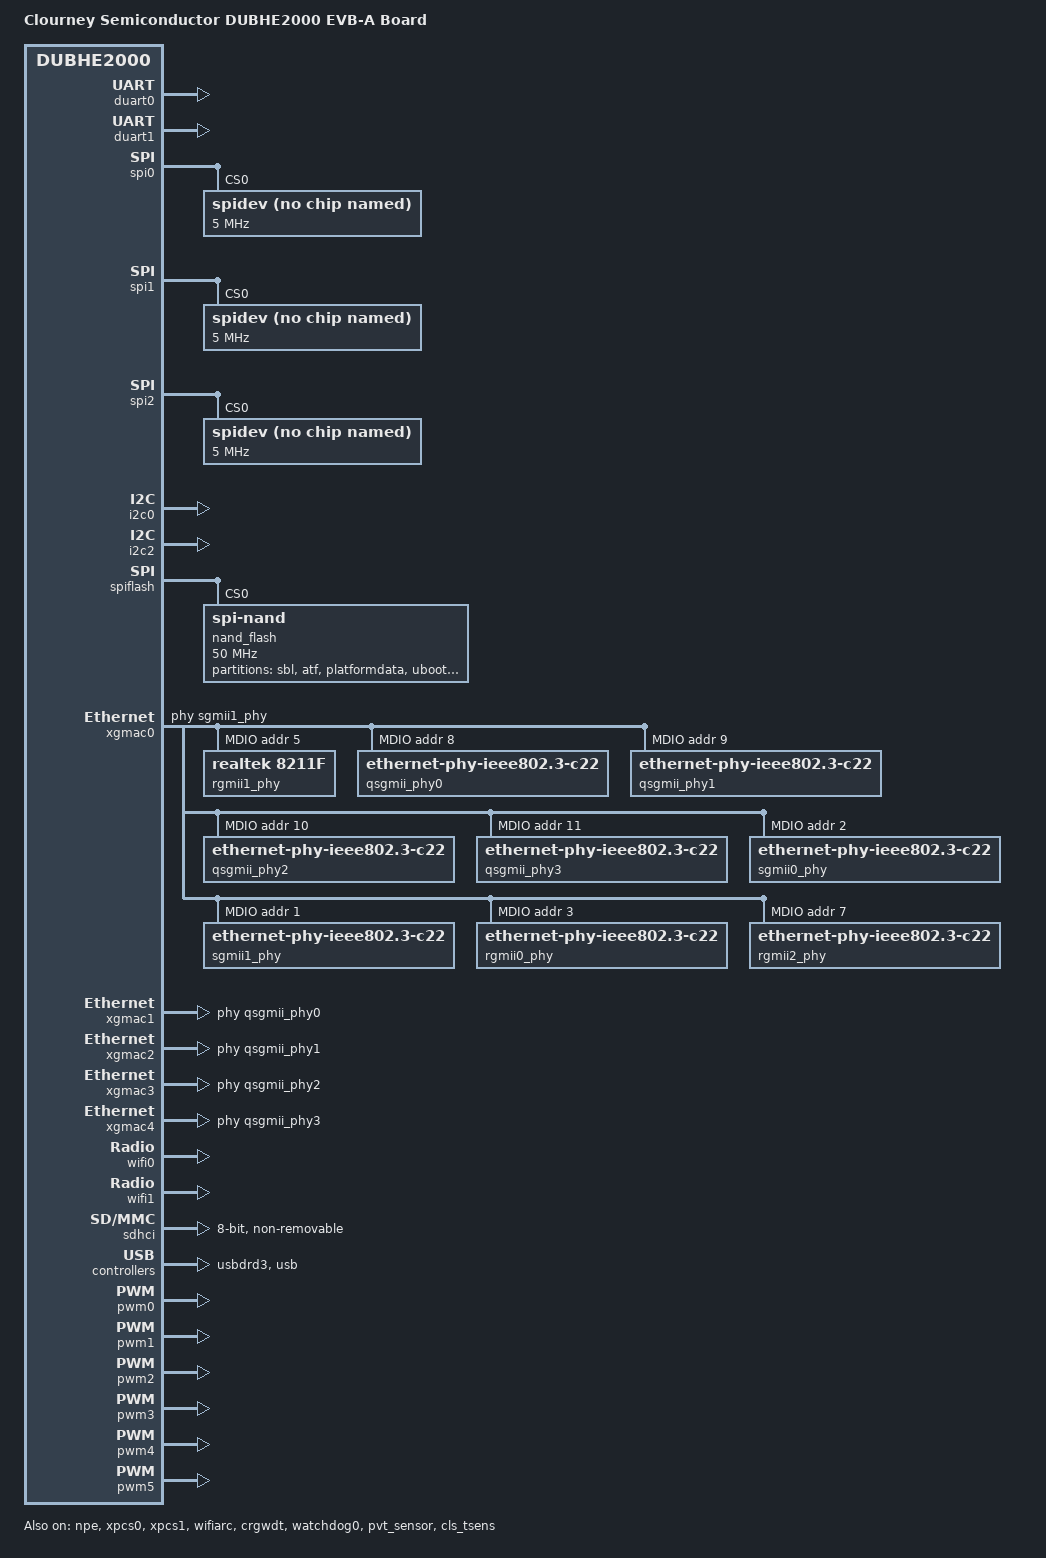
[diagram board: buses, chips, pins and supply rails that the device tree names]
// SPDX-License-Identifier: (GPL-2.0+ OR MIT)
/*
 * Device Tree Include file for Clourney dubhe2000 family SoC.
 *
 * Copyright (C) 2022-2024 Clourney Semiconductor - All Rights Reserved.
 *
 */

/dts-v1/;
#include "clourney-dubhe2000.dtsi"

/ {
	model = "Clourney Semiconductor DUBHE2000 EVB-A Board";
	compatible = "clsemi,dubhe2000-evb-a", "clsemi,dubhe2000";

	aliases {
		serial0 = &duart0;
		spidev0 = &spi0;
                spidev1 = &spi1;
		spidev2 = &spi2;
		spinand = &spiflash;
		pwm0 = &pwm0;
		pwm1 = &pwm1;
		pwm2 = &pwm2;
		pwm3 = &pwm3;
		pwm4 = &pwm4;
		pwm5 = &pwm5;

	};

	chosen {
		stdout-path = "serial0:115200n8";
	};

	macros {
	    #define MMC_CARD_USED   1
	 };
};

&duart0 {
	status = "ok";
};

&duart1 {
        status = "ok";
};

&spi0 {
	status = "ok";
	spidev@0 {
		spi-max-frequency = <5000000>;
		reg = <0>;
		compatible = "linux,spidev";
	};
};

&spi1 {
	status = "ok";
	spidev@1 {
		spi-max-frequency = <5000000>;
		reg = <0>;
		compatible = "linux,spidev";
	};
};

&spi2 {
	status = "ok";
	spidev@2 {
		spi-max-frequency = <5000000>;
		reg = <0>;
		compatible = "linux,spidev";
	};
};

&i2c0 {
        label = "I2C0";
        status = "okay";
};

&i2c1 {
	label = "I2C1";
	status = "disabled";
	wm8960: wm8960@1a {
		#sound-dai-cells = <0>;
		compatible = "wlf,wm8960";
		clocks = <&osc_24m>;
		clock-names = "mclk";
		reg = <0x1a>;
		wlf,shared-lrclk;
	};
};

&i2c2 {
        label = "I2C2";
        status = "okay";
};

&i2s0 {
	#sound-dai-cells = <0>;
	top_sysclk_frequence = <49152000>;
	status = "disabled";
};

&sound0 {
	status = "disabled";
	simple-audio-card,format = "i2s";
	simple-audio-card,name = "wm8960";
	simple-audio-card,cpu {
		sound-dai = <&i2s0>;
		frame-master;
		bitclock-master;
	};
	simple-audio-card,codec {
		sound-dai = <&wm8960>;
		system-clock-frequency = <12288000>;
	};
};

&spiflash {
	rx-sample-delay-ns = <8>;
	status = "ok";

	nand_flash: flash@0 {
		compatible = "spi-nand";
		spi-max-frequency = <50000000>;
		reg = <0>;
		#address-cells = <1>;
		#size-cells = <1>;

		/*0.5MB*/
		partition@0 {
			label = "sbl";
			reg = <0x0 0x80000>;
		};

		/*0.5MB*/
		partition@1 {
			label = "atf";
			reg = <0x80000 0x80000>;
		};

		/*1MB*/
		partition@2 {
			label = "platformdata";
			reg = <0x100000 0x100000>;
		};

		/*2MB*/
		partition@3 {
			label = "uboot";
			reg = <0x200000 0x200000>;
		};

		/*1MB*/
		partition@4 {
			label = "caldata";
			reg = <0x400000 0x100000>;
		};

		/*1MB*/
		partition@5 {
			label = "caldata2";
			reg = <0x500000 0x100000>;
		};

		/*1.5MB*/
                partition@6 {
                        label = "ubootenv";
                        reg = <0x600000 0x180000>;
                };

		/*1.5MB*/
                partition@7 {
                        label = "boarddata";
                        reg = <0x780000 0x180000>;
                };

		/*32MB*/
                partition@8 {
                        label = "fw1";
                        reg = <0x900000 0x2000000>;
                };

		/*32MB*/
                partition@9 {
                        label = "fw2";
                        reg = <0x2900000 0x2000000>;
                };

		/*55MB*/
                partition@10 {
                        label = "reserved";
                        reg = <0x4900000 0x3700000>;
                };
	};
};

&npe  {
	status = "ok";
	switch-pause = <3>;
};

&xpcs0 {
	phy-mode = "sgmii";
	status = "okay";
};

&xpcs1 {
	phy-mode = "qsgmii";
	status = "okay";
};

&xgmac0 {
	mode = "non-rgmii";
	max-speed = <25000>;
	phy-handle = <&sgmii1_phy>;
	clk_csr = <1>;
	mdio-flags = <1>;
	status = "okay";
	mdio {
	compatible = "clourney,mdio";
	#address-cells = <1>;
	#size-cells = <0>;
	device_type = "mdio";
	status = "okay";
	rgmii1_phy: ethernet-phy@5 {
		 compatible = "realtek,8211f","ethernet-phy-ieee802.3-c22";
		 reg = <0x5>;
	};
	qsgmii_phy0: ethernet-phy@8 {
		 compatible = "ethernet-phy-ieee802.3-c22";
		 port-id = <0>;
		 reg = <0x8>;
	};
	qsgmii_phy1: ethernet-phy@9 {
		compatible = "ethernet-phy-ieee802.3-c22";
		port-id = <1>;
		reg = <0x9>;
	};
	qsgmii_phy2: ethernet-phy@a {
		compatible = "ethernet-phy-ieee802.3-c22";
		port-id = <2>;
		reg = <0xa>;
	};
	qsgmii_phy3: ethernet-phy@b {
		compatible = "ethernet-phy-ieee802.3-c22";
		port-id = <3>;
		reg = <0xb>;
	};
	sgmii0_phy: ethernet-phy@01 {
		compatible = "ethernet-phy-ieee802.3-c22";
		reg = <0x2>;
	};
	sgmii1_phy: ethernet-phy@1 {
		compatible = "ethernet-phy-ieee802.3-c22";
		reg = <0x1>;
	};
	rgmii0_phy: ethernet-phy@3 {
		compatible = "ethernet-phy-ieee802.3-c22";
		reg = <0x3>;
	};
	rgmii2_phy: ethernet-phy@7 {
		compatible = "ethernet-phy-ieee802.3-c22";
		reg = <0x7>;
	};
  };
};

&xgmac1 {
	mode = "non-rgmii";
	phy-handle = <&qsgmii_phy0>;
	status = "okay";
};

&xgmac2 {
	mode = "non-rgmii";
	phy-handle = <&qsgmii_phy1>;
	status = "okay";
};

&xgmac3 {
	mode = "non-rgmii";
	phy-handle = <&qsgmii_phy2>;
	status = "okay";
};

&xgmac4 {
	mode = "non-rgmii";
	phy-handle = <&qsgmii_phy3>;
	status = "okay";
};

&wifi0 { status = "ok"; };

&wifi1 { status = "ok"; };

&wifiarm { status = "disabled"; };

&wifiarc { status = "ok"; };

&sdhci { status = "ok"; };

&crgwdt {
        timeout-sec = <WDT_TIMEOUT_S>;
        status = "ok";
};

&watchdog0 {
	timeout-sec = <WDT_TIMEOUT_S>;
	status = "ok";
};

&gpio0 { status = "ok"; };

&gpio1 { status = "ok"; };

&gpio_keys { status = "ok"; };

&gpio_leds { status = "ok"; };

&usbdrd3 { status = "ok";};

&usb {status = "ok"; };

&sdhci {
	disable-wp;
	keep-power-in-suspend;
	sdhci-caps-mask = <0xff0000 0x0>;
	sdhci-caps = <0x0 0x0>;
	max-frequency = <50000000>;
	clock-frequency = <50000000>;

	#if MMC_CARD_USED
	bus-width = <8>;
	non-removable;
	no-sdio;
	no-sd;
	cap-mmc-highspeed;
	keep-power-in-suspend;
	/* HS400 mode */
	#elif SD_CARD_USED
	bus-width = <4>;
	no-sdio;
	no-mmc;
	supports-sd;
	card-detect-delay = <2000>;
	cap-sd-highspeed;
	/* controller clock frequence low than 50M is recommended */
	sd-uhs-sdr12;
	sd-uhs-sdr25;
	sd-uhs-sdr50;
	sd-uhs-sdr104;
	no-1-8-v;
	#elif SDIO_CARD_USED
	no-sd;
	no-mmc;
	#endif
	status = "okay";
};

&pwm0 { status = "ok"; };

&pwm1 { status = "ok"; };

&pwm2 { status = "ok"; };

&pwm3 { status = "ok"; };

&pwm4 { status = "ok"; };

&pwm5 { status = "ok"; };

&pvt_sensor {
	status = "ok";
        // T2
        temp_rise_alarm2_L = "102000";
        temp_rise_alarm2_H = "110000";
        temp_fall_alarm2_H = "110000";
        temp_fall_alarm2_L = "102000";
        // T0
        temp_rise_alarm0_L = "110000";
        temp_rise_alarm0_H = "118000";
        temp_fall_alarm0_H = "118000";
        temp_fall_alarm0_L = "110000";
        // T1
        temp_rise_alarm1_L = "118000";
        temp_rise_alarm1_H = "126000";
        temp_fall_alarm1_H = "126000";
        temp_fall_alarm1_L = "118000";
};

&cls_tsens {
	status = "ok";
        // T2
        temp_rise_alarm2_L = "102000";
        temp_rise_alarm2_H = "110000";
        temp_fall_alarm2_H = "110000";
        temp_fall_alarm2_L = "102000";
        // T0
        temp_rise_alarm0_L = "110000";
        temp_rise_alarm0_H = "118000";
        temp_fall_alarm0_H = "118000";
        temp_fall_alarm0_L = "110000";
        // T1
        temp_rise_alarm1_L = "118000";
        temp_rise_alarm1_H = "126000";
        temp_fall_alarm1_H = "126000";
        temp_fall_alarm1_L = "118000";
};

